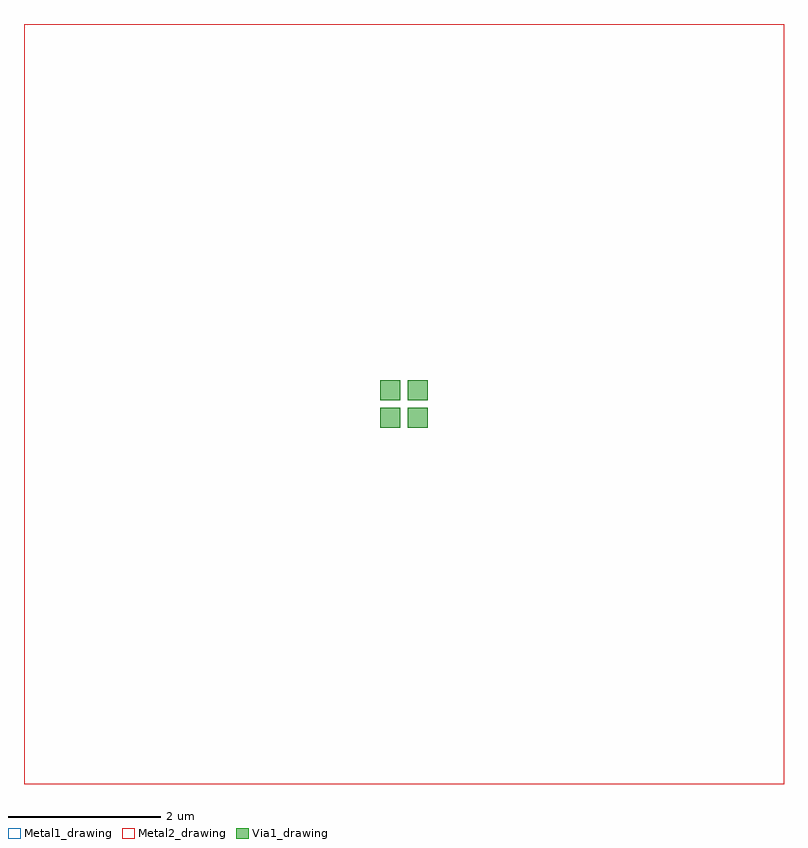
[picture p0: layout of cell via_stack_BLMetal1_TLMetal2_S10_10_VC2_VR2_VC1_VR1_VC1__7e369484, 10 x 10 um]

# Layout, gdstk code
import gdstk
lib = gdstk.Library(unit=1e-6, precision=1e-09)
def R(c, l, rs):  # rectangles x0, y0, x1, y1
    for r in rs: c.add(gdstk.rectangle(r[:2], r[2:], *l))
Metal1_drawing = (8, 0)
Metal2_drawing = (10, 0)
Via1_drawing = (19, 0)

rectangle_gdsfactorypcom = lib.new_cell('rectangle_gdsfactorypcomponentspshapesprectangle_S10_10_33ee6a25')
R(rectangle_gdsfactorypcom, Metal1_drawing, [(-5,-5,5,5)])

c_rectangle_gdsfactorypcom = lib.new_cell('rectangle_gdsfactorypcomponentspshapesprectangle_S10_10_ba3edd5f')
R(c_rectangle_gdsfactorypcom, Metal2_drawing, [(-5,-5,5,5)])

c_rectangle_gdsfactorypcom_ = lib.new_cell('rectangle_gdsfactorypcomponentspshapesprectangle_S0p26__6e8be91d')
R(c_rectangle_gdsfactorypcom_, Via1_drawing, [(0,0,0.26,0.26)])

via_array_vtvia1_c2_r2_v = lib.new_cell('via_array_VTVia1_C2_R2_VS0p26_VS0p36_VE0p06_LCContdrawi_30e8aec6')
via_array_vtvia1_c2_r2_v.add(gdstk.Reference(c_rectangle_gdsfactorypcom_, (0,0)))
via_array_vtvia1_c2_r2_v.add(gdstk.Reference(c_rectangle_gdsfactorypcom_, (0,0.36)))
via_array_vtvia1_c2_r2_v.add(gdstk.Reference(c_rectangle_gdsfactorypcom_, (0.36,0)))
via_array_vtvia1_c2_r2_v.add(gdstk.Reference(c_rectangle_gdsfactorypcom_, (0.36,0.36)))

via_stack_blmetal1_tlmet = lib.new_cell('via_stack_BLMetal1_TLMetal2_S10_10_VC2_VR2_VC1_VR1_VC1__7e369484')
via_stack_blmetal1_tlmet.add(gdstk.Reference(rectangle_gdsfactorypcom, (0,0)))
via_stack_blmetal1_tlmet.add(gdstk.Reference(c_rectangle_gdsfactorypcom, (0,0)))
via_stack_blmetal1_tlmet.add(gdstk.Reference(via_array_vtvia1_c2_r2_v, (-0.31,-0.31)))

lib.write_gds('via_stack_BLMetal1_TLMetal2_S10_10_VC2_VR2_VC1_VR1_VC1__7e369484.gds')
